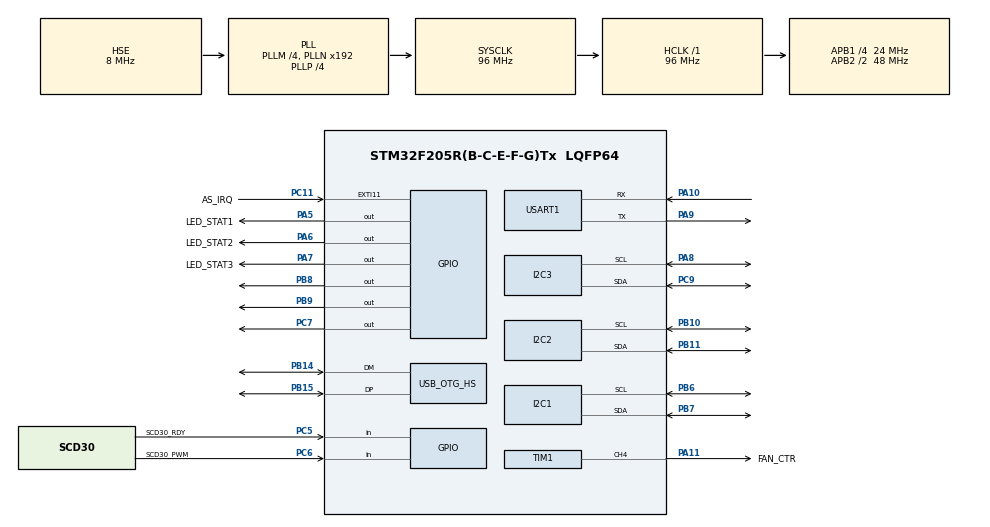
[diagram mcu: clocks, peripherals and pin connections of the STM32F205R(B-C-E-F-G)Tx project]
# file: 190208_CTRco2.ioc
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I2C3.DualAddressMode=I2C_DUALADDRESS_DISABLE
I2C3.OwnAddress=0x0
Mcu.Family=STM32F2
Mcu.Name=STM32F205R(B-C-E-F-G)Tx
Mcu.Package=LQFP64
NVIC.I2C1_ER_IRQn=true\:3\:1\:true\:true\:true\:2\:true\:true
NVIC.I2C1_EV_IRQn=true\:3\:1\:true\:true\:true\:1\:true\:true
NVIC.I2C2_ER_IRQn=true\:0\:0\:false\:false\:true\:true\:true
NVIC.I2C2_EV_IRQn=true\:0\:0\:false\:false\:true\:true\:true
NVIC.I2C3_ER_IRQn=true\:3\:2\:true\:true\:true\:4\:true\:true
NVIC.I2C3_EV_IRQn=true\:3\:2\:true\:true\:true\:3\:true\:true
NVIC.OTG_HS_IRQn=true\:0\:0\:false\:false\:true\:true\:true
NVIC.PriorityGroup=NVIC_PRIORITYGROUP_2
NVIC.USART1_IRQn=true\:0\:0\:false\:false\:true\:true\:true
PA10.Mode=Asynchronous
PA10.Signal=USART1_RX
PA11.GPIO_Label=FAN_CTR
PA11.Signal=S_TIM1_CH4
PA5.GPIO_Label=LED_STAT1
PA5.Signal=GPIO_Output
PA6.GPIO_Label=LED_STAT2
PA6.Signal=GPIO_Output
PA7.GPIO_Label=LED_STAT3
PA7.Signal=GPIO_Output
PA8.GPIO_PuPdOD=GPIO_PULLUP
PA8.Mode=I2C
PA8.Signal=I2C3_SCL
PA9.Mode=Asynchronous
PA9.Signal=USART1_TX
PB10.GPIO_PuPdOD=GPIO_NOPULL
PB10.Mode=I2C
PB10.Signal=I2C2_SCL
PB11.GPIO_PuPdOD=GPIO_NOPULL
PB11.Mode=I2C
PB11.Signal=I2C2_SDA
PB14.Mode=Device_Only_FS
PB14.Signal=USB_OTG_HS_DM
PB15.Mode=Device_Only_FS
PB15.Signal=USB_OTG_HS_DP
PB6.GPIO_PuPdOD=GPIO_PULLUP
PB6.Mode=I2C
PB6.Signal=I2C1_SCL
PB7.GPIO_PuPdOD=GPIO_PULLUP
PB7.Mode=I2C
PB7.Signal=I2C1_SDA
PB8.Signal=GPIO_Output
PB9.Signal=GPIO_Output
PC11.GPIO_Label=AS_IRQ
PC11.GPIO_ModeDefaultEXTI=GPIO_MODE_EVT_FALLING
PC11.GPIO_PuPd=GPIO_PULLUP
PC11.Signal=GPXTI11
PC5.GPIO_Label=SCD30_RDY
PC5.Signal=GPIO_Input
PC6.GPIO_Label=SCD30_PWM
PC6.Signal=GPIO_Input
PC7.Signal=GPIO_Output
PC9.GPIO_PuPdOD=GPIO_PULLUP
PC9.Mode=I2C
PC9.Signal=I2C3_SDA
PH0-OSC_IN.Mode=HSE-External-Oscillator
PH0-OSC_IN.Signal=RCC_OSC_IN
PH1-OSC_OUT.Mode=HSE-External-Oscillator
PH1-OSC_OUT.Signal=RCC_OSC_OUT
ProjectManager.HeapSize=0x200
ProjectManager.StackSize=0x400
ProjectManager.TargetToolchain=EWARM V7
RCC.48MHZClocksFreq_Value=48000000
RCC.AHBFreq_Value=96000000
RCC.APB1CLKDivider=RCC_HCLK_DIV4
RCC.APB1Freq_Value=24000000
RCC.APB1TimFreq_Value=48000000
RCC.APB2CLKDivider=RCC_HCLK_DIV2
RCC.APB2Freq_Value=48000000
RCC.APB2TimFreq_Value=96000000
RCC.CortexFreq_Value=96000000
RCC.HCLKFreq_Value=96000000
RCC.HSE_VALUE=8000000
RCC.HSI_VALUE=16000000
RCC.LSE_VALUE=32768
RCC.PLLM=4
RCC.PLLP=RCC_PLLP_DIV4
RCC.PLLQ=8
RCC.PLLSourceVirtual=RCC_PLLSOURCE_HSE
RCC.SYSCLKFreq_VALUE=96000000
RCC.SYSCLKSource=RCC_SYSCLKSOURCE_PLLCLK
RCC.VCOOutputFreq_Value=384000000
SH.S_TIM1_CH4.0=TIM1_CH4,PWM Generation4 CH4
TIM1.AutoReloadPreload=TIM_AUTORELOAD_PRELOAD_ENABLE
TIM1.Channel-PWM\ Generation4\ CH4=TIM_CHANNEL_4
TIM1.ClockDivision=TIM_CLOCKDIVISION_DIV1
TIM1.CounterMode=TIM_COUNTERMODE_DOWN
TIM1.Period=32000
TIM1.Pulse-PWM\ Generation4\ CH4=50000
USART1.VirtualMode=VM_ASYNC
USB_DEVICE.CLASS_NAME_HS=CDC
USB_DEVICE.VirtualMode-CDC_HS=Cdc
USB_DEVICE.VirtualModeHS=Cdc_HS
USB_OTG_HS.VirtualMode-Device_Only_FS=Device_Only_FS
VP_IWDG_VS_IWDG.Mode=IWDG_Activate
VP_TIM1_VS_ClockSourceINT.Mode=Internal
VP_USB_DEVICE_VS_USB_DEVICE_CDC_HS.Mode=CDC_HS
board=custom

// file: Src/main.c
/* USER CODE BEGIN Header */
/**
  ******************************************************************************
  * @file           : main.c
  * @brief          : Main program body
  ******************************************************************************
  ** This notice applies to any and all portions of this file
  * that are not between comment pairs USER CODE BEGIN and
  * USER CODE END. Other portions of this file, whether
  * inserted by the user or by software development tools
  * are owned by their respective copyright owners.
  *
  * COPYRIGHT(c) 2019 STMicroelectronics
  *
  * Redistribution and use in source and binary forms, with or without modification,
  * are permitted provided that the following conditions are met:
  *   1. Redistributions of source code must retain the above copyright notice,
  *      this list of conditions and the following disclaimer.
  *   2. Redistributions in binary form must reproduce the above copyright notice,
  *      this list of conditions and the following disclaimer in the documentation
  *      and/or other materials provided with the distribution.
  *   3. Neither the name of STMicroelectronics nor the names of its contributors
  *      may be used to endorse or promote products derived from this software
  *      without specific prior written permission.
  *
  * THIS SOFTWARE IS PROVIDED BY THE COPYRIGHT HOLDERS AND CONTRIBUTORS "AS IS"
  * AND ANY EXPRESS OR IMPLIED WARRANTIES, INCLUDING, BUT NOT LIMITED TO, THE
  * IMPLIED WARRANTIES OF MERCHANTABILITY AND FITNESS FOR A PARTICULAR PURPOSE ARE
  * DISCLAIMED. IN NO EVENT SHALL THE COPYRIGHT HOLDER OR CONTRIBUTORS BE LIABLE
  * FOR ANY DIRECT, INDIRECT, INCIDENTAL, SPECIAL, EXEMPLARY, OR CONSEQUENTIAL
  * DAMAGES (INCLUDING, BUT NOT LIMITED TO, PROCUREMENT OF SUBSTITUTE GOODS OR
  * SERVICES; LOSS OF USE, DATA, OR PROFITS; OR BUSINESS INTERRUPTION) HOWEVER
  * CAUSED AND ON ANY THEORY OF LIABILITY, WHETHER IN CONTRACT, STRICT LIABILITY,
  * OR TORT (INCLUDING NEGLIGENCE OR OTHERWISE) ARISING IN ANY WAY OUT OF THE USE
  * OF THIS SOFTWARE, EVEN IF ADVISED OF THE POSSIBILITY OF SUCH DAMAGE.
  *
  ******************************************************************************
  */
/* USER CODE END Header */

#include "main.h"
#include "usb_device.h"

/* USER CODE BEGIN Includes */
#include "includes.h"

/* USER CODE END Includes */

I2C_HandleTypeDef hi2c1;
I2C_HandleTypeDef hi2c2;
I2C_HandleTypeDef hi2c3;

IWDG_HandleTypeDef hiwdg;

TIM_HandleTypeDef htim1;

UART_HandleTypeDef huart1;

void SystemClock_Config(void);
static void MX_GPIO_Init(void);
static void MX_I2C3_Init(void);
static void MX_I2C1_Init(void);
static void MX_I2C2_Init(void);
static void MX_TIM1_Init(void);
static void MX_IWDG_Init(void);
static void MX_USART1_UART_Init(void);
static void MX_NVIC_Init(void);
/* USER CODE BEGIN PFP */
void Error_Handler(void);
/* USER CODE END PFP */

int main(void)
{

  /* MCU Configuration--------------------------------------------------------*/

  /* Reset of all peripherals, Initializes the Flash interface and the Systick. */
  HAL_Init();

  /* Configure the system clock */
  SystemClock_Config();

  /* Initialize all configured peripherals */
  MX_GPIO_Init();
  MX_I2C3_Init();
  MX_I2C1_Init();
  MX_I2C2_Init();
  MX_TIM1_Init();
  MX_USB_DEVICE_Init();
  MX_IWDG_Init();
  MX_USART1_UART_Init();

  /* Initialize interrupts */
  MX_NVIC_Init();
  /* USER CODE BEGIN 2 */
  hw_init();
  /* USER CODE END 2 */

  /* Infinite loop */
  while (1)
  {

    /* USER CODE BEGIN 3 */
    HD_as1115();
    HD_hdc1080();
    HD_sdc30();
    HD_system();
    HD_Led();
		HD_Shell();
    HAL_IWDG_Refresh(&hiwdg);
   }
  /* USER CODE END 3 */
}

void SystemClock_Config(void)
{
  RCC_OscInitTypeDef RCC_OscInitStruct = {0};
  RCC_ClkInitTypeDef RCC_ClkInitStruct = {0};

  /** Initializes the CPU, AHB and APB busses clocks
  */
  RCC_OscInitStruct.OscillatorType = RCC_OSCILLATORTYPE_LSI|RCC_OSCILLATORTYPE_HSE;
  RCC_OscInitStruct.HSEState = RCC_HSE_ON;
  RCC_OscInitStruct.LSIState = RCC_LSI_ON;
  RCC_OscInitStruct.PLL.PLLState = RCC_PLL_ON;
  RCC_OscInitStruct.PLL.PLLSource = RCC_PLLSOURCE_HSE;
  RCC_OscInitStruct.PLL.PLLM = 4;
  RCC_OscInitStruct.PLL.PLLN = 192;
  RCC_OscInitStruct.PLL.PLLP = RCC_PLLP_DIV4;
  RCC_OscInitStruct.PLL.PLLQ = 8;
  if (HAL_RCC_OscConfig(&RCC_OscInitStruct) != HAL_OK)
  {
    Error_Handler();
  }
  /** Initializes the CPU, AHB and APB busses clocks
  */
  RCC_ClkInitStruct.ClockType = RCC_CLOCKTYPE_HCLK|RCC_CLOCKTYPE_SYSCLK
                              |RCC_CLOCKTYPE_PCLK1|RCC_CLOCKTYPE_PCLK2;
  RCC_ClkInitStruct.SYSCLKSource = RCC_SYSCLKSOURCE_PLLCLK;
  RCC_ClkInitStruct.AHBCLKDivider = RCC_SYSCLK_DIV1;
  RCC_ClkInitStruct.APB1CLKDivider = RCC_HCLK_DIV4;
  RCC_ClkInitStruct.APB2CLKDivider = RCC_HCLK_DIV2;

  if (HAL_RCC_ClockConfig(&RCC_ClkInitStruct, FLASH_LATENCY_3) != HAL_OK)
  {
    Error_Handler();
  }
}

/**
  * @brief NVIC Configuration.
  * @retval None
  */
static void MX_NVIC_Init(void)
{
  /* I2C1_EV_IRQn interrupt configuration */
  HAL_NVIC_SetPriority(I2C1_EV_IRQn, 3, 3);
  HAL_NVIC_EnableIRQ(I2C1_EV_IRQn);
  /* I2C1_ER_IRQn interrupt configuration */
  HAL_NVIC_SetPriority(I2C1_ER_IRQn, 3, 3);
  HAL_NVIC_EnableIRQ(I2C1_ER_IRQn);
  /* I2C3_EV_IRQn interrupt configuration */
  HAL_NVIC_SetPriority(I2C2_EV_IRQn, 3, 2);
  HAL_NVIC_EnableIRQ(I2C2_EV_IRQn);
  /* I2C3_ER_IRQn interrupt configuration */
  HAL_NVIC_SetPriority(I2C2_ER_IRQn, 3, 2);
  HAL_NVIC_EnableIRQ(I2C2_ER_IRQn);
  /* I2C3_EV_IRQn interrupt configuration */
  HAL_NVIC_SetPriority(I2C3_EV_IRQn, 3, 1);
  HAL_NVIC_EnableIRQ(I2C3_EV_IRQn);
  /* I2C3_ER_IRQn interrupt configuration */
  HAL_NVIC_SetPriority(I2C3_ER_IRQn, 3, 1);
  HAL_NVIC_EnableIRQ(I2C3_ER_IRQn);
}

static void MX_I2C1_Init(void)
{

  hi2c1.Instance = I2C1;
  hi2c1.Init.ClockSpeed = 100000;
  hi2c1.Init.DutyCycle = I2C_DUTYCYCLE_2;
  hi2c1.Init.OwnAddress1 = 0;
  hi2c1.Init.AddressingMode = I2C_ADDRESSINGMODE_7BIT;
  hi2c1.Init.DualAddressMode = I2C_DUALADDRESS_DISABLE;
  hi2c1.Init.OwnAddress2 = 0;
  hi2c1.Init.GeneralCallMode = I2C_GENERALCALL_DISABLE;
  hi2c1.Init.NoStretchMode = I2C_NOSTRETCH_DISABLE;
  if (HAL_I2C_Init(&hi2c1) != HAL_OK)
  {
    Error_Handler();
  }

}

static void MX_I2C2_Init(void)
{

  hi2c2.Instance = I2C2;
  hi2c2.Init.ClockSpeed = 100000;
  hi2c2.Init.DutyCycle = I2C_DUTYCYCLE_2;
  hi2c2.Init.OwnAddress1 = 0;
  hi2c2.Init.AddressingMode = I2C_ADDRESSINGMODE_7BIT;
  hi2c2.Init.DualAddressMode = I2C_DUALADDRESS_DISABLE;
  hi2c2.Init.OwnAddress2 = 0;
  hi2c2.Init.GeneralCallMode = I2C_GENERALCALL_DISABLE;
  hi2c2.Init.NoStretchMode = I2C_NOSTRETCH_DISABLE;
  if (HAL_I2C_Init(&hi2c2) != HAL_OK)
  {
    Error_Handler();
  }

}

static void MX_I2C3_Init(void)
{

  hi2c3.Instance = I2C3;
  hi2c3.Init.ClockSpeed = 50000;
  hi2c3.Init.DutyCycle = I2C_DUTYCYCLE_2;
  hi2c3.Init.OwnAddress1 = 0;
  hi2c3.Init.AddressingMode = I2C_ADDRESSINGMODE_7BIT;
  hi2c3.Init.DualAddressMode = I2C_DUALADDRESS_DISABLE;
  hi2c3.Init.OwnAddress2 = 0;
  hi2c3.Init.GeneralCallMode = I2C_GENERALCALL_DISABLE;
  hi2c3.Init.NoStretchMode = I2C_NOSTRETCH_DISABLE;
  if (HAL_I2C_Init(&hi2c3) != HAL_OK)
  {
    Error_Handler();
  }

}

static void MX_IWDG_Init(void)
{

  hiwdg.Instance = IWDG;
  hiwdg.Init.Prescaler = IWDG_PRESCALER_4;
  hiwdg.Init.Reload = 4095;
  if (HAL_IWDG_Init(&hiwdg) != HAL_OK)
  {
    Error_Handler();
  }

}

static void MX_TIM1_Init(void)
{

  TIM_ClockConfigTypeDef sClockSourceConfig = {0};
  TIM_MasterConfigTypeDef sMasterConfig = {0};
  TIM_OC_InitTypeDef sConfigOC = {0};
  TIM_BreakDeadTimeConfigTypeDef sBreakDeadTimeConfig = {0};

  htim1.Instance = TIM1;
  htim1.Init.Prescaler = 0;
  htim1.Init.CounterMode = TIM_COUNTERMODE_DOWN;
  htim1.Init.Period = 32000;
  htim1.Init.ClockDivision = TIM_CLOCKDIVISION_DIV1;
  htim1.Init.RepetitionCounter = 0;
  htim1.Init.AutoReloadPreload = TIM_AUTORELOAD_PRELOAD_ENABLE;
  if (HAL_TIM_Base_Init(&htim1) != HAL_OK)
  {
    Error_Handler();
  }
  sClockSourceConfig.ClockSource = TIM_CLOCKSOURCE_INTERNAL;
  if (HAL_TIM_ConfigClockSource(&htim1, &sClockSourceConfig) != HAL_OK)
  {
    Error_Handler();
  }
  if (HAL_TIM_PWM_Init(&htim1) != HAL_OK)
  {
    Error_Handler();
  }
  sMasterConfig.MasterOutputTrigger = TIM_TRGO_RESET;
  sMasterConfig.MasterSlaveMode = TIM_MASTERSLAVEMODE_DISABLE;
  if (HAL_TIMEx_MasterConfigSynchronization(&htim1, &sMasterConfig) != HAL_OK)
  {
    Error_Handler();
  }
  sConfigOC.OCMode = TIM_OCMODE_PWM1;
  sConfigOC.Pulse = 50000;
  sConfigOC.OCPolarity = TIM_OCPOLARITY_HIGH;
  sConfigOC.OCFastMode = TIM_OCFAST_DISABLE;
  sConfigOC.OCIdleState = TIM_OCIDLESTATE_RESET;
  sConfigOC.OCNIdleState = TIM_OCNIDLESTATE_RESET;
  if (HAL_TIM_PWM_ConfigChannel(&htim1, &sConfigOC, TIM_CHANNEL_4) != HAL_OK)
  {
    Error_Handler();
  }
  sBreakDeadTimeConfig.OffStateRunMode = TIM_OSSR_DISABLE;
  sBreakDeadTimeConfig.OffStateIDLEMode = TIM_OSSI_DISABLE;
  sBreakDeadTimeConfig.LockLevel = TIM_LOCKLEVEL_OFF;
  sBreakDeadTimeConfig.DeadTime = 0;
  sBreakDeadTimeConfig.BreakState = TIM_BREAK_DISABLE;
  sBreakDeadTimeConfig.BreakPolarity = TIM_BREAKPOLARITY_HIGH;
  sBreakDeadTimeConfig.AutomaticOutput = TIM_AUTOMATICOUTPUT_DISABLE;
  if (HAL_TIMEx_ConfigBreakDeadTime(&htim1, &sBreakDeadTimeConfig) != HAL_OK)
  {
    Error_Handler();
  }
  /* USER CODE BEGIN TIM1_Init 2 */

/**
  * @brief  Starts the PWM signal generation.
  * @param  htim pointer to a TIM_HandleTypeDef structure that contains
  *                the configuration information for TIM module.
  * @param  Channel TIM Channels to be enabled.
  *          This parameter can be one of the following values:
  *            @arg TIM_CHANNEL_1: TIM Channel 1 selected
  *            @arg TIM_CHANNEL_2: TIM Channel 2 selected
  *            @arg TIM_CHANNEL_3: TIM Channel 3 selected
  *            @arg TIM_CHANNEL_4: TIM Channel 4 selected
  * @retval HAL status
  */
  HAL_TIM_PWM_Start(&htim1,TIM_CHANNEL_4);

  /* USER CODE END TIM1_Init 2 */
  HAL_TIM_MspPostInit(&htim1);

}

static void MX_USART1_UART_Init(void)
{

  huart1.Instance = USART1;
  huart1.Init.BaudRate = 115200;
  huart1.Init.WordLength = UART_WORDLENGTH_8B;
  huart1.Init.StopBits = UART_STOPBITS_1;
  huart1.Init.Parity = UART_PARITY_NONE;
  huart1.Init.Mode = UART_MODE_TX_RX;
  huart1.Init.HwFlowCtl = UART_HWCONTROL_NONE;
  huart1.Init.OverSampling = UART_OVERSAMPLING_16;
  if (HAL_UART_Init(&huart1) != HAL_OK)
  {
    Error_Handler();
  }

}

static void MX_GPIO_Init(void)
{
  GPIO_InitTypeDef GPIO_InitStruct = {0};

  /* GPIO Ports Clock Enable */
  __HAL_RCC_GPIOH_CLK_ENABLE();
  __HAL_RCC_GPIOA_CLK_ENABLE();
  __HAL_RCC_GPIOC_CLK_ENABLE();
  __HAL_RCC_GPIOB_CLK_ENABLE();

  /*Configure GPIO pin Output Level */
  HAL_GPIO_WritePin(GPIOA, LED_STAT1_Pin|LED_STAT2_Pin|LED_STAT3_Pin, GPIO_PIN_RESET);

  /*Configure GPIO pin Output Level */
  HAL_GPIO_WritePin(GPIOC, GPIO_PIN_7, GPIO_PIN_RESET);

  /*Configure GPIO pin Output Level */
  HAL_GPIO_WritePin(GPIOB, GPIO_PIN_8|GPIO_PIN_9, GPIO_PIN_RESET);

  /*Configure GPIO pins : LED_STAT1_Pin LED_STAT2_Pin LED_STAT3_Pin */
  GPIO_InitStruct.Pin = LED_STAT1_Pin|LED_STAT2_Pin|LED_STAT3_Pin;
  GPIO_InitStruct.Mode = GPIO_MODE_OUTPUT_PP;
  GPIO_InitStruct.Pull = GPIO_NOPULL;
  GPIO_InitStruct.Speed = GPIO_SPEED_FREQ_LOW;
  HAL_GPIO_Init(GPIOA, &GPIO_InitStruct);

  /*Configure GPIO pins : SCD30_RDY_Pin SCD30_PWM_Pin */
  GPIO_InitStruct.Pin = SCD30_RDY_Pin|SCD30_PWM_Pin;
  GPIO_InitStruct.Mode = GPIO_MODE_INPUT;
  GPIO_InitStruct.Pull = GPIO_PULLDOWN;
  HAL_GPIO_Init(GPIOC, &GPIO_InitStruct);

  /*Configure GPIO pin : PC7 */
  GPIO_InitStruct.Pin = GPIO_PIN_7;
  GPIO_InitStruct.Mode = GPIO_MODE_OUTPUT_PP;
  GPIO_InitStruct.Pull = GPIO_NOPULL;
  GPIO_InitStruct.Speed = GPIO_SPEED_FREQ_LOW;
  HAL_GPIO_Init(GPIOC, &GPIO_InitStruct);

  /*Configure GPIO pin : AS_IRQ_Pin */
  GPIO_InitStruct.Pin = AS_IRQ_Pin;
  GPIO_InitStruct.Mode = GPIO_MODE_INPUT;//GPIO_MODE_EVT_FALLING;
  GPIO_InitStruct.Pull = GPIO_PULLUP;
  HAL_GPIO_Init(AS_IRQ_GPIO_Port, &GPIO_InitStruct);

  /*Configure GPIO pins : PB8 PB9 */
  GPIO_InitStruct.Pin = GPIO_PIN_8|GPIO_PIN_9;
  GPIO_InitStruct.Mode = GPIO_MODE_OUTPUT_PP;
  GPIO_InitStruct.Pull = GPIO_NOPULL;
  GPIO_InitStruct.Speed = GPIO_SPEED_FREQ_LOW;
  HAL_GPIO_Init(GPIOB, &GPIO_InitStruct);

}

/* USER CODE BEGIN 4 */

#pragma optimize=none
void HAL_I2C_MasterTxCpltCallback(I2C_HandleTypeDef *hi2c)
{
  if((gP->as1->hi2c != NULL) && (hi2c->Instance == gP->as1->hi2c->Instance))
  {
    gP->as1->reg.TxReady = true;
  }
  else if((gP->hdc->hi2c != NULL) && (hi2c->Instance == gP->hdc->hi2c->Instance))
  {
    gP->hdc->reg.TxReady = true;
  }
  else if((gP->sdc->hi2c != NULL) && (hi2c->Instance == gP->sdc->hi2c->Instance))
  {
    gP->sdc->reg.TxReady = true;
  }
}

#pragma optimize=none
void HAL_I2C_MasterRxCpltCallback(I2C_HandleTypeDef *hi2c)
{
  if((gP->as1->hi2c != NULL) && (hi2c->Instance == gP->as1->hi2c->Instance))
  {
    gP->as1->reg.RxReady = true;
  }
  else if((gP->hdc->hi2c != NULL)&&(hi2c->Instance == gP->hdc->hi2c->Instance))
  {
    gP->hdc->reg.RxReady = true;
  }
  else if((gP->sdc->hi2c != NULL)&&(hi2c->Instance == gP->sdc->hi2c->Instance))
  {
    gP->sdc->reg.RxReady = true;
  }
}

 void HAL_I2C_ErrorCallback(I2C_HandleTypeDef *hi2c)
 {
  if((gP->as1->hi2c != NULL) && (hi2c->Instance == gP->as1->hi2c->Instance))
  {
    gP->as1->acs_err++;
  }
 }
/* USER CODE END 4 */

void Error_Handler(void)
{
}

/************************ (C) COPYRIGHT STMicroelectronics *****END OF FILE****/
